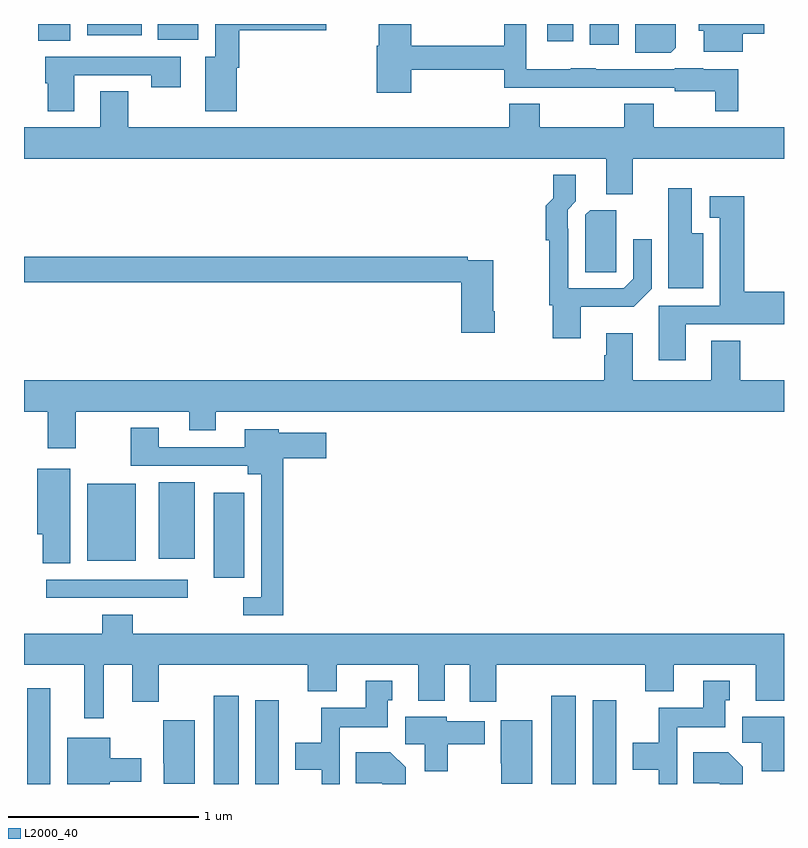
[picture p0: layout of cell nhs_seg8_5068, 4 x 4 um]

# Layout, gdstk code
import gdstk
lib = gdstk.Library(unit=1e-6, precision=1e-09)
def R(c, l, rs):  # rectangles x0, y0, x1, y1
    for r in rs: c.add(gdstk.rectangle(r[:2], r[2:], *l))
def P(c, l, *ps):  # polygons
    for p in ps: c.add(gdstk.Polygon(p, *l))
L2000_40 = (2000, 40)

nhs_seg8_5068 = lib.new_cell('nhs_seg8_5068')
R(nhs_seg8_5068, L2000_40, [(417.018,1087.9,417.139,1088.404), (417.998,1087.9,418.129,1088.365), (418.217,1087.9,418.342,1088.341), (419.774,1087.9,419.905,1088.365), (419.993,1087.9,420.118,1088.341), (417.117,1088.88,417.862,1088.976), (417.998,1088.985,418.159,1089.433), (417.332,1089.074,417.589,1089.481), (417.71,1089.086,417.898,1089.487), (419.978,1091.79,420.13,1091.9), (419.753,1091.808,419.89,1091.9), (417.074,1091.812,417.244,1091.9), (417.704,1091.816,417.916,1091.9), (417.332,1091.84,417.619,1091.9)])
P(nhs_seg8_5068, L2000_40, [(420.76,1091.662),(420.576,1091.662),(420.576,1091.668),(420.426,1091.668),(420.426,1091.661),(420.009,1091.661),(420.009,1091.668),(419.877,1091.668),(419.877,1091.662),(419.643,1091.662),(419.643,1091.9),(419.527,1091.9),(419.527,1091.786),(419.039,1091.786),(419.039,1091.899),(418.868,1091.899),(418.868,1091.786),(418.856,1091.786),(418.856,1091.538),(419.039,1091.538),(419.039,1091.658),(419.527,1091.658),(419.527,1091.565),(419.777,1091.565),(419.777,1091.564),(420.009,1091.564),(420.009,1091.565),(420.426,1091.565),(420.426,1091.546),(420.639,1091.546),(420.639,1091.441),(420.76,1091.441)],
  [(420.784,1091.849),(420.895,1091.849),(420.895,1091.9),(420.551,1091.9),(420.551,1091.865),(420.578,1091.865),(420.578,1091.753),(420.784,1091.753)],
  [(418.12,1091.669),(418.133,1091.669),(418.133,1091.867),(418.591,1091.867),(418.591,1091.9),(418.007,1091.9),(418.007,1091.728),(417.953,1091.728),(417.953,1091.442),(418.12,1091.442)],
  [(420.43,1091.776),(420.43,1091.9),(420.218,1091.9),(420.218,1091.75),(420.404,1091.75)],
  [(417.265,1091.631),(417.67,1091.631),(417.67,1091.568),(417.826,1091.568),(417.826,1091.727),(417.113,1091.727),(417.113,1091.589),(417.125,1091.589),(417.125,1091.442),(417.265,1091.442)],
  [(420.205,1091.192),(421,1091.192),(421,1091.356),(420.315,1091.356),(420.315,1091.48),(420.16,1091.48),(420.16,1091.356),(419.715,1091.356),(419.715,1091.48),(419.555,1091.48),(419.555,1091.356),(417.549,1091.356),(417.549,1091.546),(417.401,1091.546),(417.401,1091.356),(417,1091.356),(417,1091.192),(420.065,1091.192),(420.065,1091.005),(420.205,1091.005)],
  [(419.929,1090.412),(420.209,1090.412),(420.303,1090.506),(420.303,1090.768),(420.207,1090.768),(420.207,1090.56),(420.156,1090.509),(419.865,1090.509),(419.865,1090.823),(419.862,1090.823),(419.862,1090.923),(419.905,1090.966),(419.905,1091.107),(419.785,1091.107),(419.785,1090.983),(419.747,1090.944),(419.747,1090.762),(419.764,1090.762),(419.764,1090.419),(419.782,1090.419),(419.782,1090.245),(419.929,1090.245)],
  [(420.574,1090.798),(420.514,1090.798),(420.514,1091.035),(420.392,1091.035),(420.392,1090.508),(420.574,1090.508)],
  [(420.484,1090.32),(420.753,1090.32),(420.753,1090.319),(421,1090.319),(421,1090.49),(420.792,1090.49),(420.792,1090.993),(420.609,1090.993),(420.609,1090.88),(420.662,1090.88),(420.662,1090.416),(420.341,1090.416),(420.341,1090.131),(420.484,1090.131)],
  [(420.117,1090.705),(420.118,1090.705),(420.118,1090.92),(419.979,1090.92),(419.955,1090.896),(419.955,1090.594),(420.117,1090.594)],
  [(419.478,1090.387),(419.47,1090.387),(419.47,1090.656),(419.336,1090.656),(419.336,1090.676),(417,1090.676),(417,1090.54),(419.3,1090.54),(419.3,1090.275),(419.478,1090.275)],
  [(417.273,1089.86),(417.869,1089.86),(417.869,1089.761),(418.009,1089.761),(418.009,1089.86),(421,1089.86),(421,1090.024),(420.77,1090.024),(420.77,1090.234),(420.617,1090.234),(420.617,1090.024),(420.205,1090.024),(420.205,1090.273),(420.065,1090.273),(420.065,1090.157),(420.053,1090.157),(420.053,1090.024),(417,1090.024),(417,1089.86),(417.125,1089.86),(417.125,1089.666),(417.273,1089.666)],
  [(418.364,1089.614),(418.591,1089.614),(418.591,1089.748),(418.341,1089.748),(418.341,1089.766),(418.163,1089.766),(418.163,1089.672),(417.709,1089.672),(417.709,1089.775),(417.562,1089.775),(417.562,1089.576),(418.178,1089.576),(418.178,1089.53),(418.248,1089.53),(418.248,1088.883),(418.155,1088.883),(418.155,1088.787),(418.364,1088.787)],
  [(417.244,1089.559),(417.071,1089.559),(417.071,1089.215),(417.098,1089.215),(417.098,1089.061),(417.244,1089.061)],
  [(417.421,1088.528),(417.569,1088.528),(417.569,1088.334),(417.709,1088.334),(417.709,1088.528),(418.493,1088.528),(418.493,1088.387),(418.645,1088.387),(418.645,1088.528),(419.075,1088.528),(419.075,1088.339),(419.215,1088.339),(419.215,1088.528),(419.345,1088.528),(419.345,1088.334),(419.485,1088.334),(419.485,1088.528),(420.269,1088.528),(420.269,1088.387),(420.421,1088.387),(420.421,1088.528),(420.851,1088.528),(420.851,1088.339),(421,1088.339),(421,1088.692),(417.572,1088.692),(417.572,1088.791),(417.412,1088.791),(417.412,1088.692),(417,1088.692),(417,1088.528),(417.317,1088.528),(417.317,1088.247),(417.421,1088.247)],
  [(420.438,1088.198),(420.691,1088.198),(420.691,1088.34),(420.715,1088.34),(420.715,1088.443),(420.575,1088.443),(420.575,1088.302),(420.34,1088.302),(420.34,1088.116),(420.203,1088.116),(420.203,1087.976),(420.342,1087.976),(420.342,1087.9),(420.438,1087.9)],
  [(418.662,1088.198),(418.915,1088.198),(418.915,1088.34),(418.939,1088.34),(418.939,1088.443),(418.799,1088.443),(418.799,1088.302),(418.564,1088.302),(418.564,1088.116),(418.427,1088.116),(418.427,1087.976),(418.566,1087.976),(418.566,1087.9),(418.662,1087.9)],
  [(421,1088.254),(420.779,1088.254),(420.779,1088.116),(420.884,1088.116),(420.884,1087.968),(421,1087.968)],
  [(419.23,1088.108),(419.425,1088.108),(419.425,1088.23),(419.226,1088.23),(419.226,1088.254),(419.006,1088.254),(419.006,1088.11),(419.108,1088.11),(419.108,1087.968),(419.23,1087.968)],
  [(417.898,1088.236),(417.734,1088.236),(417.734,1088.008),(417.736,1088.008),(417.736,1087.901),(417.898,1087.901)],
  [(419.674,1088.236),(419.51,1088.236),(419.51,1088.008),(419.512,1088.008),(419.512,1087.901),(419.674,1087.901)],
  [(417.45,1087.913),(417.616,1087.913),(417.616,1088.035),(417.454,1088.035),(417.454,1088.143),(417.227,1088.143),(417.227,1087.9),(417.45,1087.9)],
  [(419.008,1087.987),(418.927,1088.068),(418.747,1088.068),(418.747,1087.904),(418.886,1087.904),(418.886,1087.9),(419.008,1087.9)],
  [(420.784,1087.99),(420.706,1088.068),(420.523,1088.068),(420.523,1087.904),(420.662,1087.904),(420.662,1087.9),(420.784,1087.9)])

lib.write_gds('nhs_seg8_5068.gds')
